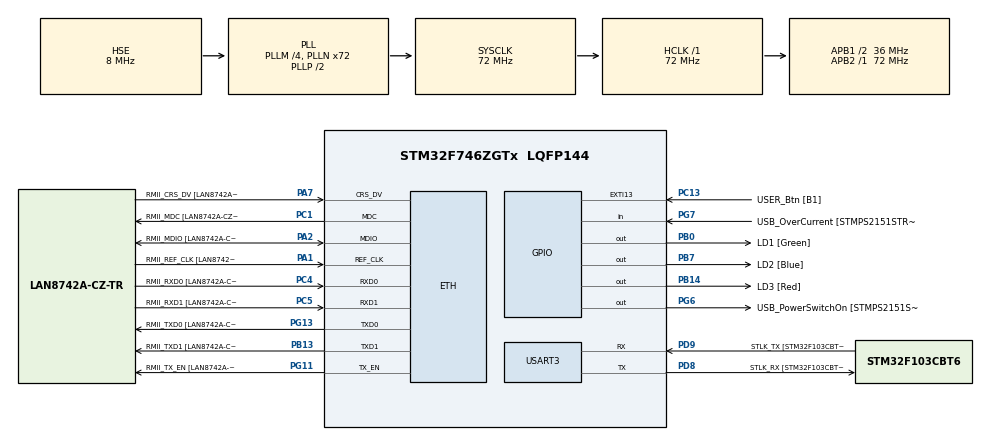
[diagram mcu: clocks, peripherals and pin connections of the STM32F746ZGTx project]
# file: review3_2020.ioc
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ETH.MediaInterface=ETH_MEDIA_INTERFACE_RMII
ETH.PHY_Name=LAN8742A_PHY_ADDRESS
ETH.PHY_Value=0
ETH.PhyAddress=0
FREERTOS.INCLUDE_vTaskDelayUntil=1
FREERTOS.Tasks01=defaultTask,0,128,StartDefaultTask,Default,NULL,Dynamic,NULL,NULL
LWIP.LWIP_HTTPD=1
LWIP.LWIP_HTTPD_CGI=1
LWIP.LWIP_HTTPD_SSI=1
LWIP.LWIP_HTTPD_SSI_INCLUDE_TAG=0
LWIP.LWIP_HTTPD_SSI_RAW=1
LWIP.Version=v2.1.2_Cube
Mcu.Family=STM32F7
Mcu.Name=STM32F746ZGTx
Mcu.Package=LQFP144
NVIC.ETH_IRQn=true\:5\:0\:false\:false\:true\:true\:false\:true
NVIC.PriorityGroup=NVIC_PRIORITYGROUP_4
NVIC.TIM2_IRQn=true\:0\:0\:false\:false\:true\:false\:false\:true
NVIC.TimeBase=TIM2_IRQn
NVIC.TimeBaseIP=TIM2
PA1.GPIO_Label=RMII_REF_CLK [LAN8742A-CZ-TR_REFCLK0]
PA1.Mode=RMII
PA1.Signal=ETH_REF_CLK
PA10.GPIO_Label=USB_ID
PA10.Signal=USB_OTG_FS_ID
PA11.GPIO_Label=USB_DM
PA11.Signal=USB_OTG_FS_DM
PA12.GPIO_Label=USB_DP
PA12.Signal=USB_OTG_FS_DP
PA13.GPIO_Label=TMS
PA13.Mode=Serial_Wire
PA13.Signal=SYS_JTMS-SWDIO
PA14.GPIO_Label=TCK
PA14.Mode=Serial_Wire
PA14.Signal=SYS_JTCK-SWCLK
PA2.GPIO_Label=RMII_MDIO [LAN8742A-CZ-TR_MDIO]
PA2.Mode=RMII
PA2.Signal=ETH_MDIO
PA7.GPIO_Label=RMII_CRS_DV [LAN8742A-CZ-TR_CRS_DV]
PA7.Mode=RMII
PA7.Signal=ETH_CRS_DV
PA8.GPIO_Label=USB_SOF [TP1]
PA8.Signal=USB_OTG_FS_SOF
PA9.GPIO_Label=USB_VBUS
PA9.Signal=USB_OTG_FS_VBUS
PB0.GPIO_Label=LD1 [Green]
PB0.Signal=GPIO_Output
PB13.GPIO_Label=RMII_TXD1 [LAN8742A-CZ-TR_TXD1]
PB13.Mode=RMII
PB13.Signal=ETH_TXD1
PB14.GPIO_Label=LD3 [Red]
PB14.Signal=GPIO_Output
PB3.GPIO_Label=SW0
PB3.Signal=SYS_JTDO-SWO
PB7.GPIO_Label=LD2 [Blue]
PB7.Signal=GPIO_Output
PC1.GPIO_Label=RMII_MDC [LAN8742A-CZ-TR_MDC]
PC1.Mode=RMII
PC1.Signal=ETH_MDC
PC13.GPIO_Label=USER_Btn [B1]
PC13.Signal=GPXTI13
PC14/OSC32_IN.Mode=LSE-External-Oscillator
PC14/OSC32_IN.Signal=RCC_OSC32_IN
PC15/OSC32_OUT.Mode=LSE-External-Oscillator
PC15/OSC32_OUT.Signal=RCC_OSC32_OUT
PC4.GPIO_Label=RMII_RXD0 [LAN8742A-CZ-TR_RXD0]
PC4.Mode=RMII
PC4.Signal=ETH_RXD0
PC5.GPIO_Label=RMII_RXD1 [LAN8742A-CZ-TR_RXD1]
PC5.Mode=RMII
PC5.Signal=ETH_RXD1
PD8.GPIO_Label=STLK_RX [STM32F103CBT6_PA3]
PD8.Mode=Asynchronous
PD8.Signal=USART3_TX
PD9.GPIO_Label=STLK_TX [STM32F103CBT6_PA2]
PD9.Mode=Asynchronous
PD9.Signal=USART3_RX
PG11.GPIO_Label=RMII_TX_EN [LAN8742A-CZ-TR_TXEN]
PG11.Mode=RMII
PG11.Signal=ETH_TX_EN
PG13.GPIO_Label=RMII_TXD0 [LAN8742A-CZ-TR_TXD0]
PG13.Mode=RMII
PG13.Signal=ETH_TXD0
PG6.GPIO_Label=USB_PowerSwitchOn [STMPS2151STR_EN]
PG6.Signal=GPIO_Output
PG7.GPIO_Label=USB_OverCurrent [STMPS2151STR_FAULT]
PG7.Signal=GPIO_Input
PH0/OSC_IN.GPIO_Label=MCO [STM32F103CBT6_PA8]
PH0/OSC_IN.Mode=HSE-External-Clock-Source
PH0/OSC_IN.Signal=RCC_OSC_IN
PH1/OSC_OUT.Mode=HSE-External-Clock-Source
PH1/OSC_OUT.Signal=RCC_OSC_OUT
ProjectManager.HeapSize=0x200
ProjectManager.StackSize=0x400
ProjectManager.TargetToolchain=STM32CubeIDE
RCC.48MHZClocksFreq_Value=24000000
RCC.AHBFreq_Value=72000000
RCC.APB1CLKDivider=RCC_HCLK_DIV2
RCC.APB1Freq_Value=36000000
RCC.APB1TimFreq_Value=72000000
RCC.APB2Freq_Value=72000000
RCC.APB2TimFreq_Value=72000000
RCC.CortexFreq_Value=72000000
RCC.HCLKFreq_Value=72000000
RCC.HSE_VALUE=8000000
RCC.HSI_VALUE=16000000
RCC.PLLM=4
RCC.PLLMUL=RCC_PLL_MUL9
RCC.PLLN=72
RCC.PLLQ=3
RCC.PLLSourceVirtual=RCC_PLLSOURCE_HSE
RCC.PRESCALERUSB=RCC_USBCLKSOURCE_PLL_DIV1_5
RCC.SYSCLKFreq_VALUE=72000000
RCC.SYSCLKSource=RCC_SYSCLKSOURCE_PLLCLK
RCC.SYSCLKSourceVirtual=RCC_SYSCLKSOURCE_PLLCLK
RCC.USBFreq_Value=48000000
RCC.VCOOutputFreq_Value=144000000
USART3.VirtualMode-Asynchronous=VM_ASYNC
VP_FREERTOS_VS_CMSIS_V1.Mode=CMSIS_V1
VP_LWIP_VS_Enabled.Mode=Enabled
VP_SYS_VS_tim2.Mode=TIM2
board=NUCLEO-F746ZG

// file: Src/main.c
/* USER CODE BEGIN Header */
/**
  ******************************************************************************
  * @file           : main.c
  * @brief          : Main program body
  ******************************************************************************
  * @attention
  *
  * <h2><center>&copy; Copyright (c) 2020 STMicroelectronics.
  * All rights reserved.</center></h2>
  *
  * This software component is licensed by ST under Ultimate Liberty license
  * SLA0044, the "License"; You may not use this file except in compliance with
  * the License. You may obtain a copy of the License at:
  *                             www.st.com/SLA0044
  *
  ******************************************************************************
  */
/* USER CODE END Header */
#include "main.h"
#include "cmsis_os.h"
#include "lwip.h"

/* USER CODE BEGIN Includes */
#include <string.h>
#include "lwip/apps/httpd.h"

/* USER CODE END Includes */

UART_HandleTypeDef huart3;

osThreadId defaultTaskHandle;

void SystemClock_Config(void);
static void MX_GPIO_Init(void);
static void MX_USART3_UART_Init(void);
void StartDefaultTask(void const * argument);

/* USER CODE BEGIN 0 */
const int custom_SSI_tag_num = 4;
const char* custom_SSI_tags[] = {"lred", "lgreen", "lblue", "buser"};

uint16_t custom_SSI_handler(const char* ssi_tag_name, char *pcInsert, int iInsertLen)
{
	if ( iInsertLen < 10 ) {
	  // if the buffer size is smaller than the longest response then indicate an error
	  return(-1);
	}

	if (strcmp(ssi_tag_name, custom_SSI_tags[0])==0) {
	  if (HAL_GPIO_ReadPin(GPIOB, GPIO_PIN_14)) {
		  strcpy(pcInsert, "1");
	  } else {
		  strcpy(pcInsert, "0");
	  }
	  return(strlen(pcInsert));
	}  else if (strcmp(ssi_tag_name, custom_SSI_tags[1])==0) {
	  if (HAL_GPIO_ReadPin(GPIOB, GPIO_PIN_0)) {
		  strcpy(pcInsert, "1");
	  } else {
		  strcpy(pcInsert, "0");
	  }
	  return(strlen(pcInsert));
	} else if (strcmp(ssi_tag_name, custom_SSI_tags[2])==0) {
	  if (HAL_GPIO_ReadPin(GPIOB, GPIO_PIN_7)) {
		  strcpy(pcInsert, "1");
	  } else {
		  strcpy(pcInsert, "0");
	  }
	  return(strlen(pcInsert));
	} else if (strcmp(ssi_tag_name, custom_SSI_tags[3])==0) {
	  if (HAL_GPIO_ReadPin(GPIOC, GPIO_PIN_13)) {
		  strcpy(pcInsert, "pressed");
	  } else {
		  strcpy(pcInsert, "released");
	  }
	  return(strlen(pcInsert));
	} else {
	  // otherwise, return unrecognized tag error
	return(-1);
	}
}

const char * setALL(int iIndex, int iNumParams, char *pcParam[], char *pcValue[])
{
    // Warning: use atoi_r instead of atoi in case you also use this function inside a RTOS task
    for (int i=0; i<iNumParams; i++) {
        if (strcmp(pcParam[i],"red")==0) {
            if (atoi(pcValue[i])==1) {
                HAL_GPIO_WritePin(GPIOB, GPIO_PIN_14, GPIO_PIN_SET);
            } else {
                HAL_GPIO_WritePin(GPIOB, GPIO_PIN_14, GPIO_PIN_RESET);
            }
        } else if (strcmp(pcParam[i],"green")==0) {
            if (atoi(pcValue[i])==1) {
                HAL_GPIO_WritePin(GPIOB, GPIO_PIN_0, GPIO_PIN_SET);
            } else {
                HAL_GPIO_WritePin(GPIOB, GPIO_PIN_0, GPIO_PIN_RESET);
            }
        } else if (strcmp(pcParam[i],"blue")==0) {
            if (atoi(pcValue[i])==1) {
                HAL_GPIO_WritePin(GPIOB, GPIO_PIN_7, GPIO_PIN_SET);
            } else {
                HAL_GPIO_WritePin(GPIOB, GPIO_PIN_7, GPIO_PIN_RESET);
            }
        } // else invalid parameters are simply ignored in this example
    }
    // we return the status page as confirmation in this example
    return("/index.shtml");
}

#define custon_CGI_handler_num 1
const tCGI custom_CGI_handlers[custon_CGI_handler_num] = {
    //  file name   function called
    {"/setall.cgi",   setALL}
};

/* USER CODE END 0 */

int main(void)
{

  /* MCU Configuration--------------------------------------------------------*/

  /* Reset of all peripherals, Initializes the Flash interface and the Systick. */
  HAL_Init();

  /* Configure the system clock */
  SystemClock_Config();

  /* Initialize all configured peripherals */
  MX_GPIO_Init();
  MX_USART3_UART_Init();
  /* USER CODE BEGIN 2 */
  //start the web server after MX_LWIP_Init() is called
  //set up the web server
  http_set_ssi_handler(custom_SSI_handler, custom_SSI_tags, custom_SSI_tag_num);
  http_set_cgi_handlers(custom_CGI_handlers, custon_CGI_handler_num);
  httpd_init();

  /* USER CODE END 2 */

  /* Create the thread(s) */
  /* definition and creation of defaultTask */
  osThreadDef(defaultTask, StartDefaultTask, osPriorityNormal, 0, 128);
  defaultTaskHandle = osThreadCreate(osThread(defaultTask), NULL);

  /* Start scheduler */
  osKernelStart();

  /* We should never get here as control is now taken by the scheduler */
  /* Infinite loop */
  while (1)
  {

  }
}

void SystemClock_Config(void)
{
  RCC_OscInitTypeDef RCC_OscInitStruct = {0};
  RCC_ClkInitTypeDef RCC_ClkInitStruct = {0};

  /** Configure LSE Drive Capability
  */
  HAL_PWR_EnableBkUpAccess();
  /** Configure the main internal regulator output voltage
  */
  __HAL_RCC_PWR_CLK_ENABLE();
  __HAL_PWR_VOLTAGESCALING_CONFIG(PWR_REGULATOR_VOLTAGE_SCALE3);
  /** Initializes the RCC Oscillators according to the specified parameters
  * in the RCC_OscInitTypeDef structure.
  */
  RCC_OscInitStruct.OscillatorType = RCC_OSCILLATORTYPE_HSE;
  RCC_OscInitStruct.HSEState = RCC_HSE_BYPASS;
  RCC_OscInitStruct.PLL.PLLState = RCC_PLL_ON;
  RCC_OscInitStruct.PLL.PLLSource = RCC_PLLSOURCE_HSE;
  RCC_OscInitStruct.PLL.PLLM = 4;
  RCC_OscInitStruct.PLL.PLLN = 72;
  RCC_OscInitStruct.PLL.PLLP = RCC_PLLP_DIV2;
  RCC_OscInitStruct.PLL.PLLQ = 3;
  if (HAL_RCC_OscConfig(&RCC_OscInitStruct) != HAL_OK)
  {
    Error_Handler();
  }
  /** Initializes the CPU, AHB and APB buses clocks
  */
  RCC_ClkInitStruct.ClockType = RCC_CLOCKTYPE_HCLK|RCC_CLOCKTYPE_SYSCLK
                              |RCC_CLOCKTYPE_PCLK1|RCC_CLOCKTYPE_PCLK2;
  RCC_ClkInitStruct.SYSCLKSource = RCC_SYSCLKSOURCE_PLLCLK;
  RCC_ClkInitStruct.AHBCLKDivider = RCC_SYSCLK_DIV1;
  RCC_ClkInitStruct.APB1CLKDivider = RCC_HCLK_DIV2;
  RCC_ClkInitStruct.APB2CLKDivider = RCC_HCLK_DIV1;

  if (HAL_RCC_ClockConfig(&RCC_ClkInitStruct, FLASH_LATENCY_2) != HAL_OK)
  {
    Error_Handler();
  }
}

static void MX_USART3_UART_Init(void)
{

  huart3.Instance = USART3;
  huart3.Init.BaudRate = 115200;
  huart3.Init.WordLength = UART_WORDLENGTH_8B;
  huart3.Init.StopBits = UART_STOPBITS_1;
  huart3.Init.Parity = UART_PARITY_NONE;
  huart3.Init.Mode = UART_MODE_TX_RX;
  huart3.Init.HwFlowCtl = UART_HWCONTROL_NONE;
  huart3.Init.OverSampling = UART_OVERSAMPLING_16;
  huart3.Init.OneBitSampling = UART_ONE_BIT_SAMPLE_DISABLE;
  huart3.AdvancedInit.AdvFeatureInit = UART_ADVFEATURE_NO_INIT;
  if (HAL_UART_Init(&huart3) != HAL_OK)
  {
    Error_Handler();
  }

}

static void MX_GPIO_Init(void)
{
  GPIO_InitTypeDef GPIO_InitStruct = {0};

  /* GPIO Ports Clock Enable */
  __HAL_RCC_GPIOC_CLK_ENABLE();
  __HAL_RCC_GPIOH_CLK_ENABLE();
  __HAL_RCC_GPIOA_CLK_ENABLE();
  __HAL_RCC_GPIOB_CLK_ENABLE();
  __HAL_RCC_GPIOD_CLK_ENABLE();
  __HAL_RCC_GPIOG_CLK_ENABLE();

  /*Configure GPIO pin Output Level */
  HAL_GPIO_WritePin(GPIOB, LD1_Pin|LD3_Pin|LD2_Pin, GPIO_PIN_RESET);

  /*Configure GPIO pin Output Level */
  HAL_GPIO_WritePin(USB_PowerSwitchOn_GPIO_Port, USB_PowerSwitchOn_Pin, GPIO_PIN_RESET);

  /*Configure GPIO pin : USER_Btn_Pin */
  GPIO_InitStruct.Pin = USER_Btn_Pin;
  GPIO_InitStruct.Mode = GPIO_MODE_IT_RISING;
  GPIO_InitStruct.Pull = GPIO_NOPULL;
  HAL_GPIO_Init(USER_Btn_GPIO_Port, &GPIO_InitStruct);

  /*Configure GPIO pins : LD1_Pin LD3_Pin LD2_Pin */
  GPIO_InitStruct.Pin = LD1_Pin|LD3_Pin|LD2_Pin;
  GPIO_InitStruct.Mode = GPIO_MODE_OUTPUT_PP;
  GPIO_InitStruct.Pull = GPIO_NOPULL;
  GPIO_InitStruct.Speed = GPIO_SPEED_FREQ_LOW;
  HAL_GPIO_Init(GPIOB, &GPIO_InitStruct);

  /*Configure GPIO pin : USB_PowerSwitchOn_Pin */
  GPIO_InitStruct.Pin = USB_PowerSwitchOn_Pin;
  GPIO_InitStruct.Mode = GPIO_MODE_OUTPUT_PP;
  GPIO_InitStruct.Pull = GPIO_NOPULL;
  GPIO_InitStruct.Speed = GPIO_SPEED_FREQ_LOW;
  HAL_GPIO_Init(USB_PowerSwitchOn_GPIO_Port, &GPIO_InitStruct);

  /*Configure GPIO pin : USB_OverCurrent_Pin */
  GPIO_InitStruct.Pin = USB_OverCurrent_Pin;
  GPIO_InitStruct.Mode = GPIO_MODE_INPUT;
  GPIO_InitStruct.Pull = GPIO_NOPULL;
  HAL_GPIO_Init(USB_OverCurrent_GPIO_Port, &GPIO_InitStruct);

  /*Configure GPIO pins : USB_SOF_Pin USB_ID_Pin USB_DM_Pin USB_DP_Pin */
  GPIO_InitStruct.Pin = USB_SOF_Pin|USB_ID_Pin|USB_DM_Pin|USB_DP_Pin;
  GPIO_InitStruct.Mode = GPIO_MODE_AF_PP;
  GPIO_InitStruct.Pull = GPIO_NOPULL;
  GPIO_InitStruct.Speed = GPIO_SPEED_FREQ_VERY_HIGH;
  GPIO_InitStruct.Alternate = GPIO_AF10_OTG_FS;
  HAL_GPIO_Init(GPIOA, &GPIO_InitStruct);

  /*Configure GPIO pin : USB_VBUS_Pin */
  GPIO_InitStruct.Pin = USB_VBUS_Pin;
  GPIO_InitStruct.Mode = GPIO_MODE_INPUT;
  GPIO_InitStruct.Pull = GPIO_NOPULL;
  HAL_GPIO_Init(USB_VBUS_GPIO_Port, &GPIO_InitStruct);

}

void StartDefaultTask(void const * argument)
{
  /* init code for LWIP */
  MX_LWIP_Init();
  for(;;)
  {
    osDelay(1);
  }
}

void HAL_TIM_PeriodElapsedCallback(TIM_HandleTypeDef *htim)
{
  if (htim->Instance == TIM2) {
    HAL_IncTick();
  }
}

void Error_Handler(void)
{
}
